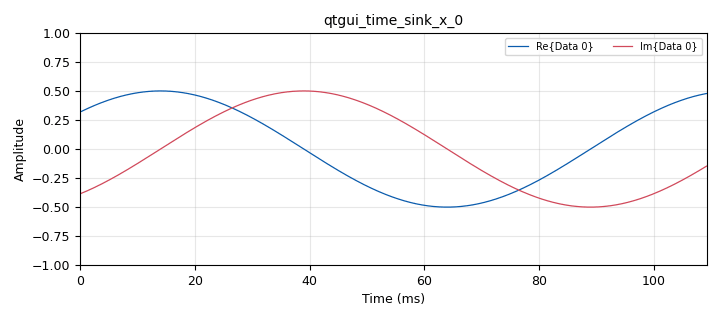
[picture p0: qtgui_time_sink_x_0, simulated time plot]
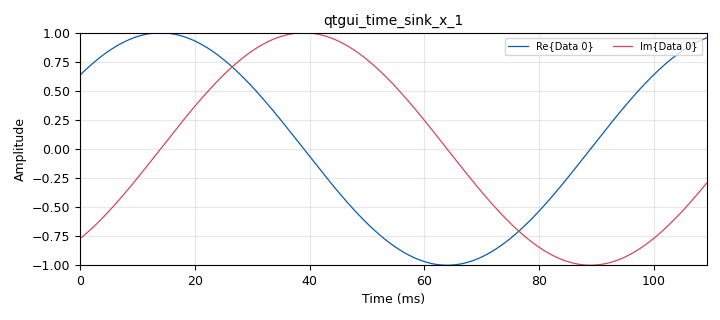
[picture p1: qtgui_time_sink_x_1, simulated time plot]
options:
  parameters:
    generate_options: qt_gui
    id: USRPrx
    output_language: python
    title: USRP_rx_test
  states: {}

blocks:
- name: bw
  id: variable
  parameters:
    value: 10*10**6
  states: {}
- name: fc
  id: variable
  parameters:
    value: 5.8*10**9
  states: {}
- name: samp_rate
  id: variable
  parameters:
    value: 30*10**6
  states: {}
- name: analog_sig_source_x_0
  id: analog_sig_source_x
  parameters:
    amp: '0.5'
    freq: '1000'
    offset: '0'
    phase: '0'
    samp_rate: samp_rate
    type: complex
    waveform: analog.GR_SIN_WAVE
  states: {}
- name: analog_sig_source_x_1
  id: analog_sig_source_x
  parameters:
    amp: '1'
    freq: '1000'
    offset: '0'
    phase: '0'
    samp_rate: samp_rate
    type: complex
    waveform: analog.GR_SIN_WAVE
  states: {}
- name: qtgui_sink_x_0
  id: qtgui_sink_x
  parameters:
    bw: bw
    fc: fc
    fftsize: '1024'
    plotwaterfall: 'False'
    showrf: 'True'
    type: complex
  states: {}
- name: qtgui_time_sink_x_0
  id: qtgui_time_sink_x
  parameters:
    size: '32768'
    srate: samp_rate/100
    type: complex
  states: {}
- name: qtgui_time_sink_x_1
  id: qtgui_time_sink_x
  parameters:
    size: '32768'
    srate: samp_rate/100
    type: complex
  states: {}
- name: uhd_usrp_source_0
  id: uhd_usrp_source
  parameters:
    ant0: '"RX1"'
    bw0: bw
    center_freq0: fc
    dev_addr: '"addr=192.168.1.2"'
    gain0: '0'
    gain_type0: power
    samp_rate: samp_rate
    sync: none
    type: fc32
  states: {}

connections:
- [analog_sig_source_x_0, '0', qtgui_time_sink_x_0, '0']
- [analog_sig_source_x_1, '0', qtgui_time_sink_x_1, '0']
- [uhd_usrp_source_0, '0', qtgui_sink_x_0, '0']

metadata:
  file_format: 1
  grc_version: 3.10.12.0
